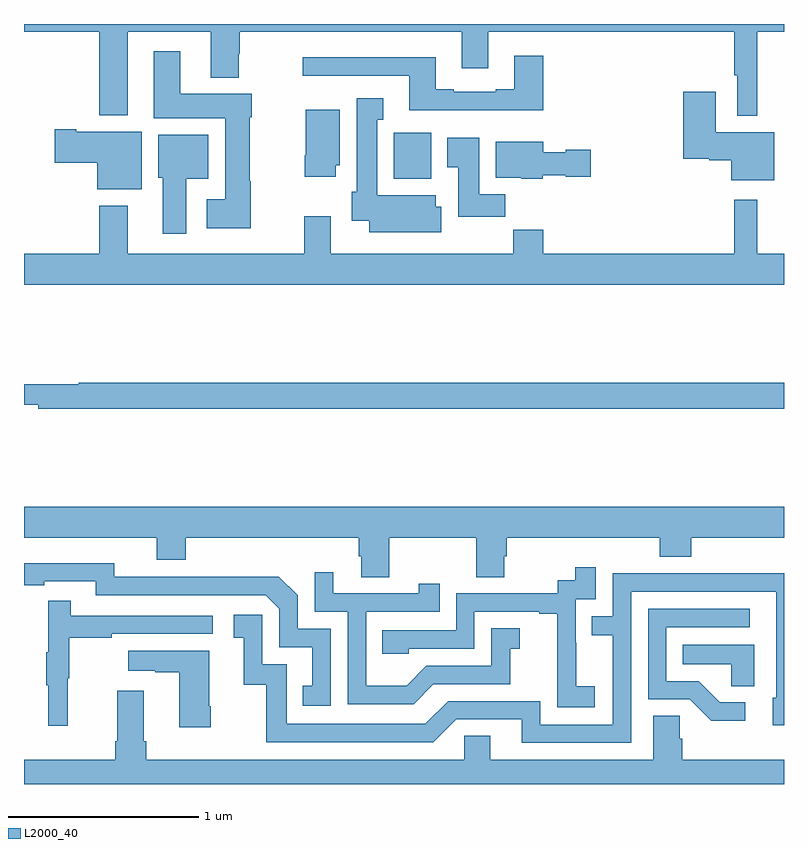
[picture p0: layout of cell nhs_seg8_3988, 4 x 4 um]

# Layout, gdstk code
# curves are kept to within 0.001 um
import gdstk
lib = gdstk.Library(unit=1e-6, precision=1e-09)
def R(c, l, rs):  # rectangles x0, y0, x1, y1
    for r in rs: c.add(gdstk.rectangle(r[:2], r[2:], *l))
def P(c, l, *ps):  # polygons
    for p in ps: c.add(gdstk.Polygon(p, *l))
L2000_40 = (2000, 40)

nhs_seg8_3988 = lib.new_cell('nhs_seg8_3988')
R(nhs_seg8_3988, L2000_40, [(358.946,1089.086,359.143,1089.328)])
P(nhs_seg8_3988, L2000_40, [(360.859,1089.86),(361,1089.86),(361,1089.9),(357,1089.9),(357,1089.86),(357.395,1089.86),(357.395,1089.419),(357.547,1089.419),(357.547,1089.86),(357.983,1089.86),(357.983,1089.617),(358.131,1089.617),(358.131,1089.744),(358.136,1089.744),(358.136,1089.86),(359.303,1089.86),(359.303,1089.666),(359.443,1089.666),(359.443,1089.86),(360.738,1089.86),(360.738,1089.631),(360.755,1089.631),(360.755,1089.416),(360.859,1089.416)],
  [(358.193,1089.073),(358.188,1089.073),(358.188,1089.408),(358.198,1089.408),(358.198,1089.532),(357.823,1089.532),(357.823,1089.757),(357.683,1089.757),(357.683,1089.404),(358.058,1089.404),(358.058,1088.977),(357.963,1088.977),(357.963,1088.825),(358.193,1088.825)],
  [(359.732,1089.733),(359.579,1089.733),(359.579,1089.556),(359.483,1089.556),(359.483,1089.543),(359.263,1089.543),(359.263,1089.556),(359.167,1089.556),(359.167,1089.724),(358.467,1089.724),(358.467,1089.627),(359.027,1089.627),(359.027,1089.446),(359.732,1089.446)],
  [(360.949,1089.331),(360.64,1089.331),(360.64,1089.544),(360.47,1089.544),(360.47,1089.191),(360.606,1089.191),(360.606,1089.184),(360.722,1089.184),(360.722,1089.077),(360.949,1089.077)],
  [(359.197,1088.939),(359.167,1088.939),(359.167,1088.998),(358.858,1088.998),(358.858,1089.395),(358.891,1089.395),(358.891,1089.508),(358.751,1089.508),(358.751,1089.018),(358.724,1089.018),(358.724,1088.864),(358.817,1088.864),(358.817,1088.804),(359.197,1088.804)],
  [(358.642,1089.156),(358.663,1089.156),(358.663,1089.448),(358.484,1089.448),(358.484,1089.208),(358.477,1089.208),(358.477,1089.096),(358.642,1089.096)],
  [(357.619,1089.334),(357.274,1089.334),(357.274,1089.347),(357.162,1089.347),(357.162,1089.169),(357.386,1089.169),(357.386,1089.029),(357.619,1089.029)],
  [(357.853,1089.086),(357.97,1089.086),(357.97,1089.316),(357.707,1089.316),(357.707,1089.09),(357.731,1089.09),(357.731,1088.796),(357.853,1088.796)],
  [(359.534,1089.004),(359.395,1089.004),(359.395,1089.301),(359.228,1089.301),(359.228,1089.145),(359.285,1089.145),(359.285,1088.886),(359.534,1088.886)],
  [(359.73,1089.104),(359.85,1089.104),(359.85,1089.097),(359.983,1089.097),(359.983,1089.239),(359.85,1089.239),(359.85,1089.226),(359.734,1089.226),(359.734,1089.28),(359.483,1089.28),(359.483,1089.092),(359.616,1089.092),(359.616,1089.086),(359.73,1089.086)],
  [(361,1088.692),(360.859,1088.692),(360.859,1088.974),(360.738,1088.974),(360.738,1088.692),(359.732,1088.692),(359.732,1088.816),(359.575,1088.816),(359.575,1088.692),(358.615,1088.692),(358.615,1088.887),(358.475,1088.887),(358.475,1088.692),(357.547,1088.692),(357.547,1088.944),(357.395,1088.944),(357.395,1088.692),(357,1088.692),(357,1088.528),(361,1088.528)],
  [(361,1088.012),(357.287,1088.012),(357.287,1088.005),(357,1088.005),(357,1087.895),(357.076,1087.895),(357.076,1087.876),(361,1087.876)],
  [(358.923,1087.196),(359.38,1087.196),(359.38,1086.988),(359.527,1086.988),(359.527,1087.098),(359.54,1087.098),(359.54,1087.196),(360.347,1087.196),(360.347,1087.097),(360.512,1087.097),(360.512,1087.196),(361,1087.196),(361,1087.36),(357,1087.36),(357,1087.196),(357.698,1087.196),(357.698,1087.079),(357.851,1087.079),(357.851,1087.196),(358.763,1087.196),(358.763,1087.098),(358.775,1087.098),(358.775,1086.988),(358.923,1086.988)],
  [(358.614,1086.717),(358.44,1086.717),(358.44,1086.894),(358.342,1086.992),(357.934,1086.992),(357.934,1086.99),(357.474,1086.99),(357.474,1087.063),(357,1087.062),(357,1086.946),(357.106,1086.946),(357.106,1086.966),(357.378,1086.966),(357.378,1086.894),(358.272,1086.894),(358.344,1086.822),(358.344,1086.621),(358.517,1086.621),(358.517,1086.417),(358.468,1086.417),(358.468,1086.312),(358.614,1086.312)],
  [(360.004,1086.415),(359.906,1086.415),(359.906,1086.644),(359.904,1086.644),(359.904,1086.873),(360.009,1086.873),(360.009,1087.042),(359.901,1087.042),(359.901,1086.972),(359.808,1086.972),(359.808,1086.903),(359.274,1086.903),(359.274,1086.708),(358.885,1086.708),(358.885,1086.585),(359.025,1086.585),(359.025,1086.612),(359.37,1086.612),(359.37,1086.807),(359.711,1086.807),(359.711,1086.795),(359.807,1086.795),(359.807,1086.511),(359.806,1086.511),(359.806,1086.305),(360.004,1086.305)],
  [(359.155,1086.426),(359.559,1086.426),(359.559,1086.611),(359.608,1086.611),(359.608,1086.721),(359.46,1086.721),(359.46,1086.522),(359.118,1086.522),(359.014,1086.418),(358.8,1086.418),(358.8,1086.807),(359.189,1086.807),(359.189,1086.955),(359.078,1086.955),(359.078,1086.903),(358.627,1086.903),(358.627,1087.015),(358.53,1087.015),(358.53,1086.807),(358.704,1086.807),(358.704,1086.321),(359.05,1086.321)],
  [(360.195,1086.912),(360.96,1086.912),(360.96,1086.354),(360.941,1086.354),(360.941,1086.21),(361,1086.21),(361,1087.01),(360.595,1087.01),(360.595,1087.008),(360.099,1087.008),(360.099,1086.783),(359.989,1086.783),(359.989,1086.682),(360.099,1086.682),(360.099,1086.213),(359.718,1086.213),(359.718,1086.336),(359.232,1086.336),(359.112,1086.216),(358.383,1086.216),(358.383,1086.531),(358.254,1086.531),(358.254,1086.79),(358.104,1086.79),(358.104,1086.669),(358.157,1086.669),(358.157,1086.423),(358.275,1086.423),(358.275,1086.12),(359.154,1086.12),(359.274,1086.24),(359.621,1086.24),(359.621,1086.117),(360.195,1086.117)],
  [(357.23,1086.456),(357.238,1086.456),(357.238,1086.67),(357.461,1086.67),(357.461,1086.69),(357.994,1086.69),(357.994,1086.786),(357.245,1086.786),(357.245,1086.865),(357.128,1086.865),(357.128,1086.593),(357.117,1086.593),(357.117,1086.419),(357.128,1086.419),(357.128,1086.207),(357.23,1086.207)],
  [(360.796,1086.33),(360.661,1086.33),(360.55,1086.441),(360.381,1086.441),(360.381,1086.726),(360.82,1086.726),(360.82,1086.822),(360.285,1086.822),(360.285,1086.345),(360.504,1086.345),(360.617,1086.233),(360.796,1086.233)],
  [(360.844,1086.634),(360.466,1086.634),(360.466,1086.53),(360.723,1086.53),(360.723,1086.415),(360.844,1086.415)],
  [(357.984,1086.31),(357.976,1086.31),(357.976,1086.601),(357.549,1086.601),(357.549,1086.497),(357.692,1086.497),(357.692,1086.487),(357.818,1086.487),(357.818,1086.198),(357.984,1086.198)],
  [(361,1086.028),(360.464,1086.028),(360.464,1086.137),(360.45,1086.137),(360.45,1086.26),(360.311,1086.26),(360.311,1086.028),(359.455,1086.028),(359.455,1086.155),(359.316,1086.155),(359.316,1086.028),(357.644,1086.028),(357.644,1086.124),(357.631,1086.124),(357.631,1086.391),(357.491,1086.391),(357.491,1086.124),(357.479,1086.124),(357.479,1086.028),(357,1086.028),(357,1085.9),(361,1085.9)])

lib.write_gds('nhs_seg8_3988.gds')
